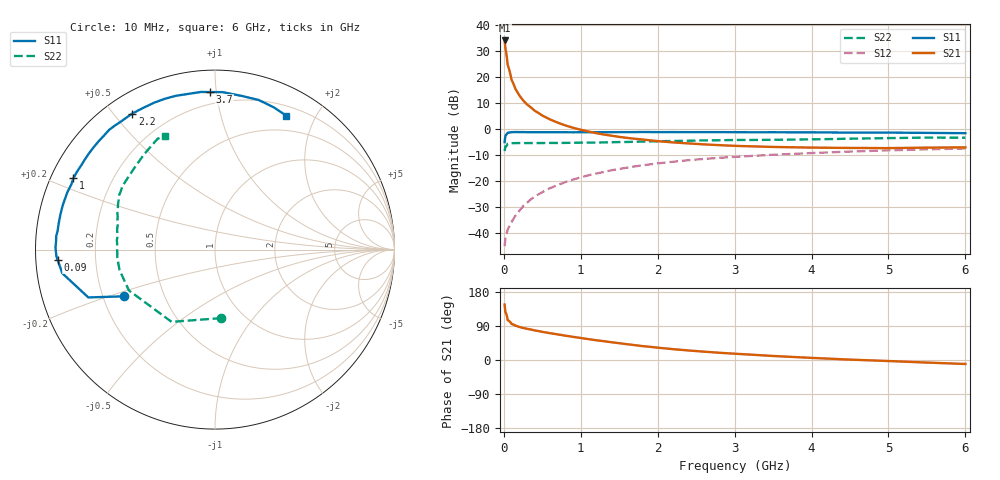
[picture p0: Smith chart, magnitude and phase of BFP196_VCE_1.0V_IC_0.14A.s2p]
! Infineon Technologies  Discrete & RF Semiconductors
! BFP196
! VCE =  1.0 V,  IC = 0.14 A
! Common Emitter S-Parameters:  Jan 2017
# GHz  S  MA  R  50
!  f  S11  S21  S12  S22
! GHz  MAG  ANG  MAG  ANG  MAG  ANG  MAG  ANG
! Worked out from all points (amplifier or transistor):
!   77 points, 10 MHz to 6 GHz, reference 50 ohm
!   highest |S21| = 34.2 dB at 10 MHz (marker M1)
!   |S21| within 3 dB of that: start of sweep to 21.05 MHz
!   unconditionally stable (mu >= 1): start of sweep to 12.15 MHz; 132.8 MHz to end of sweep
!   at 130 MHz: K = 0.99, MSG = 25.7 dB, |S12| = -34.2 dB
!   at 2.2 GHz: K = 1.07, MAG = 2.1 dB, |S12| = -12.5 dB
!   at 6 GHz: K = 1.06, MAG = -1.2 dB, |S12| = -7.3 dB
!   S11 on the Smith chart (normalised r, x): 10 MHz: 0.29, -0.22; 90 MHz: 0.06, -0.03; 1 GHz: 0.07, +0.24; 2.2 GHz: 0.08, +0.56; 3.7 GHz: 0.12, +0.96; 6 GHz: 0.31, +1.62
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0.01  0.5691 -152.8  51.13 146.2  0.0057 52.8  0.3833 -84.7
0.02  0.7542 -159.3  36.98 126.6  0.008 46.8  0.4697 -121.0
0.05  0.8612 -171.2  17.41 105.1  0.0118 44.5  0.5309 -154.6
0.09  0.8789 -176.3  10.64 98.4  0.0154 55.4  0.5391 -165.3
0.1  0.8844 -177.6  8.99 95.1  0.0164 57.3  0.544 -167.9
0.15  0.8888 179.3  6.034 90.8  0.0218 62.8  0.5446 -172.9
0.2  0.8867 177.1  4.532 87.3  0.0271 66.1  0.5462 -175.8
0.25  0.8877 175.1  3.625 84.6  0.0333 67.8  0.5446 -177.7
0.3  0.8832 173.3  3.027 82.4  0.0388 69.1  0.5455 -179.4
0.4  0.883 170.2  2.291 78.1  0.0511 70.6  0.546 178.4
0.5  0.8831 167.0  1.845 74.3  0.0621 70.4  0.5464 176.4
0.7  0.8824 161.6  1.347 67.6  0.085 69.2  0.5482 172.9
1  0.8835 153.3  0.983 58.1  0.1199 65.2  0.5562 168.7
1.1  0.883 150.5  0.91 55.1  0.1312 63.8  0.5579 167.4
1.5  0.8845 139.7  0.717 44.3  0.1733 57.1  0.5703 162.2
2.1  0.8854 123.8  0.578 30.6  0.23 47.0  0.5942 155.4
2.2  0.8873 121.3  0.562 28.6  0.2385 45.5  0.5988 154.3
3.1  0.8819 102.4  0.478 15.4  0.302 31.2  0.6258 144.4
3.7  0.8784 91.9  0.454 8.6  0.3351 23.1  0.6348 136.8
4.1  0.8754 85.8  0.445 4.7  0.3556 18.0  0.6467 131.5
5.1  0.8654 72.5  0.439 -3.5  0.3987 6.0  0.6831 120.2
6  0.8453 62.0  0.451 -10.5  0.4297 -3.9  0.6912 113.7
